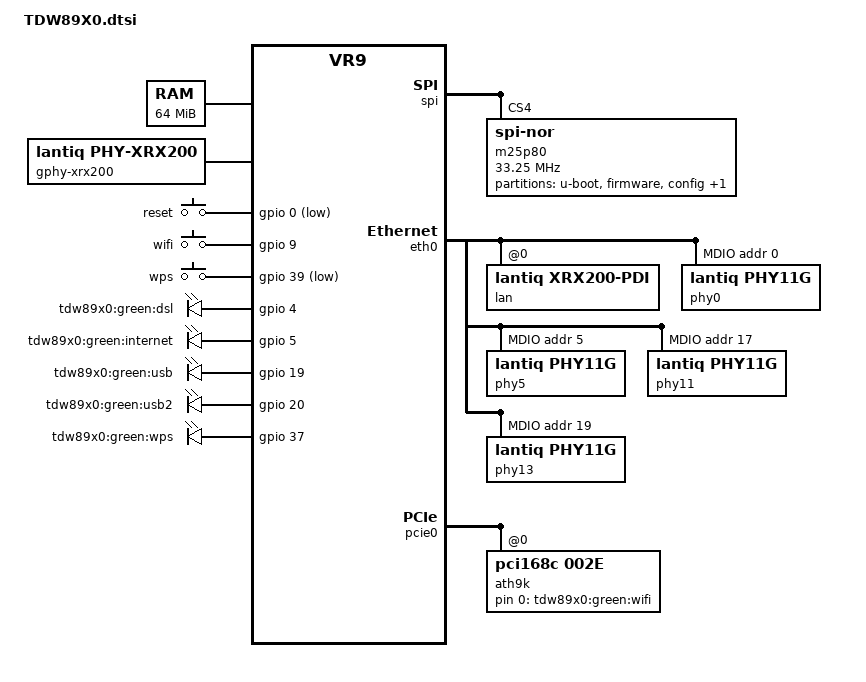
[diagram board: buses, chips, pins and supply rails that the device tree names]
#include "vr9.dtsi"

#include <dt-bindings/input/input.h>

/ {
	compatible = "tplink,tdw89x0", "lantiq,xway", "lantiq,vr9";

	chosen {
		bootargs = "console=ttyLTQ0,115200";
	};

	aliases {
		/* the power led can't be controlled, use the wps led instead */
		led-boot = &wps;
		led-failsafe = &wps;

		led-dsl = &dsl;
		led-internet = &internet;
		led-wifi = &wifi;
		led-usb = &usb0;
		led-usb2 = &usb2;
	};

	memory@0 {
		reg = <0x0 0x4000000>;
	};

	fpi@10000000 {
		gpio: pinmux@E100B10 {
			pinctrl-names = "default";
			pinctrl-0 = <&state_default>;

			state_default: pinmux {
				mdio {
					lantiq,groups = "mdio";
					lantiq,function = "mdio";
				};
				gphy-leds {
					lantiq,groups = "gphy0 led1", "gphy1 led1";
					lantiq,function = "gphy";
					lantiq,pull = <2>;
					lantiq,open-drain = <0>;
					lantiq,output = <1>;
				};
				phy-rst {
					lantiq,pins = "io42";
					lantiq,pull = <0>;
					lantiq,open-drain = <0>;
					lantiq,output = <1>;
				};
				pcie-rst {
					lantiq,pins = "io38";
					lantiq,pull = <0>;
					lantiq,output = <1>;
				};
			};
			pins_spi_default: pins_spi_default {
				spi_in {
					lantiq,groups = "spi_di";
					lantiq,function = "spi";
				};
				spi_out {
					lantiq,groups = "spi_do", "spi_clk",
						"spi_cs4";
					lantiq,function = "spi";
					lantiq,output = <1>;
				};
			};
		};

		ifxhcd@E101000 {
			status = "okay";
			gpios = <&gpio 33 GPIO_ACTIVE_HIGH>;
			lantiq,portmask = <0x3>;
		};

		ifxhcd@E106000 {
			status = "okay";
			gpios = <&gpio 33 GPIO_ACTIVE_HIGH>;
		};
	};

	gphy-xrx200 {
		compatible = "lantiq,phy-xrx200";
		firmware = "lantiq/vr9_phy11g_a2x.bin";
		phys = [ 00 01 ];
	};

	gpio-keys-polled {
		compatible = "gpio-keys-polled";
		#address-cells = <1>;
		#size-cells = <0>;
		poll-interval = <100>;
		reset {
			label = "reset";
			gpios = <&gpio 0 GPIO_ACTIVE_LOW>;
			linux,code = <KEY_RESTART>;
		};

		wifi {
			label = "wifi";
			gpios = <&gpio 9 GPIO_ACTIVE_HIGH>;
			linux,code = <KEY_RFKILL>;
			linux,input-type = <EV_SW>;
		};

		wps {
			label = "wps";
			gpios = <&gpio 39 GPIO_ACTIVE_LOW>;
			linux,code = <KEY_WPS_BUTTON>;
		};
	};

	gpio-leds {
		compatible = "gpio-leds";
		/*
			power is not controllable via gpio
		*/
		dsl: dsl {
			label = "tdw89x0:green:dsl";
			gpios = <&gpio 4 GPIO_ACTIVE_HIGH>;
		};
		internet: internet {
			label = "tdw89x0:green:internet";
			gpios = <&gpio 5 GPIO_ACTIVE_HIGH>;
		};
		usb0: usb0 {
			label = "tdw89x0:green:usb";
			gpios = <&gpio 19 GPIO_ACTIVE_HIGH>;
		};
		usb2: usb2 {
			label = "tdw89x0:green:usb2";
			gpios = <&gpio 20 GPIO_ACTIVE_HIGH>;
		};
		wps: wps {
			label = "tdw89x0:green:wps";
			gpios = <&gpio 37 GPIO_ACTIVE_HIGH>;
		};
	};

	wifi-leds {
		compatible = "gpio-leds";

		wifi: wifi {
			label = "tdw89x0:green:wifi";
			gpios = <&ath9k 0 GPIO_ACTIVE_HIGH>;
		};
	};
};

&spi {
	pinctrl-names = "default";
	pinctrl-0 = <&pins_spi_default>;

	status = "ok";

	m25p80@4 {
		#address-cells = <1>;
		#size-cells = <1>;
		compatible = "jedec,spi-nor";
		reg = <4 0>;
		spi-max-frequency = <33250000>;
		m25p,fast-read;

		partitions {
			compatible = "fixed-partitions";
			#address-cells = <1>;
			#size-cells = <1>;

			partition@0 {
				reg = <0x0 0x20000>;
				label = "u-boot";
				read-only;
			};

			partition@20000 {
				reg = <0x20000 0x7a0000>;
				label = "firmware";
			};

			partition@7c0000 {
				reg = <0x7c0000 0x10000>;
				label = "config";
				read-only;
			};

			ath9k_cal: partition@7d0000 {
				reg = <0x7d0000 0x30000>;
				label = "boardconfig";
				read-only;
			};
		};
	};
};

&eth0 {
	lan: interface@0 {
		compatible = "lantiq,xrx200-pdi";
		#address-cells = <1>;
		#size-cells = <0>;
		reg = <0>;
		mtd-mac-address = <&ath9k_cal 0xf100>;
		lantiq,switch;

		ethernet@0 {
			compatible = "lantiq,xrx200-pdi-port";
			reg = <0>;
			phy-mode = "rgmii";
			phy-handle = <&phy0>;
			// gpios = <&gpio 42 GPIO_ACTIVE_LOW>;
		};
		ethernet@5 {
			compatible = "lantiq,xrx200-pdi-port";
			reg = <5>;
			phy-mode = "rgmii";
			phy-handle = <&phy5>;
		};
		ethernet@2 {
			compatible = "lantiq,xrx200-pdi-port";
			reg = <2>;
			phy-mode = "gmii";
			phy-handle = <&phy11>;
		};
		ethernet@3 {
			compatible = "lantiq,xrx200-pdi-port";
			reg = <4>;
			phy-mode = "gmii";
			phy-handle = <&phy13>;
		};
	};

	mdio@0 {
		#address-cells = <1>;
		#size-cells = <0>;
		compatible = "lantiq,xrx200-mdio";
		phy0: ethernet-phy@0 {
			reg = <0x0>;
			compatible = "lantiq,phy11g", "ethernet-phy-ieee802.3-c22";
		};
		phy5: ethernet-phy@5 {
			reg = <0x5>;
			compatible = "lantiq,phy11g", "ethernet-phy-ieee802.3-c22";
		};
		phy11: ethernet-phy@11 {
			reg = <0x11>;
			compatible = "lantiq,phy11g", "ethernet-phy-ieee802.3-c22";
		};
		phy13: ethernet-phy@13 {
			reg = <0x13>;
			compatible = "lantiq,phy11g", "ethernet-phy-ieee802.3-c22";
		};
	};
};

&pcie0 {
	pcie@0 {
		reg = <0 0 0 0 0>;
		#interrupt-cells = <1>;
		#size-cells = <2>;
		#address-cells = <3>;
		device_type = "pci";

		ath9k: wifi@168c,002e {
			compatible = "pci168c,002e";
			reg = <0 0 0 0 0>;
			#gpio-cells = <2>;
			gpio-controller;
			qca,no-eeprom;
			qca,disable-5ghz;
			mtd-mac-address = <&ath9k_cal 0xf100>;
			mtd-mac-address-increment = <2>;
		};
	};
};
